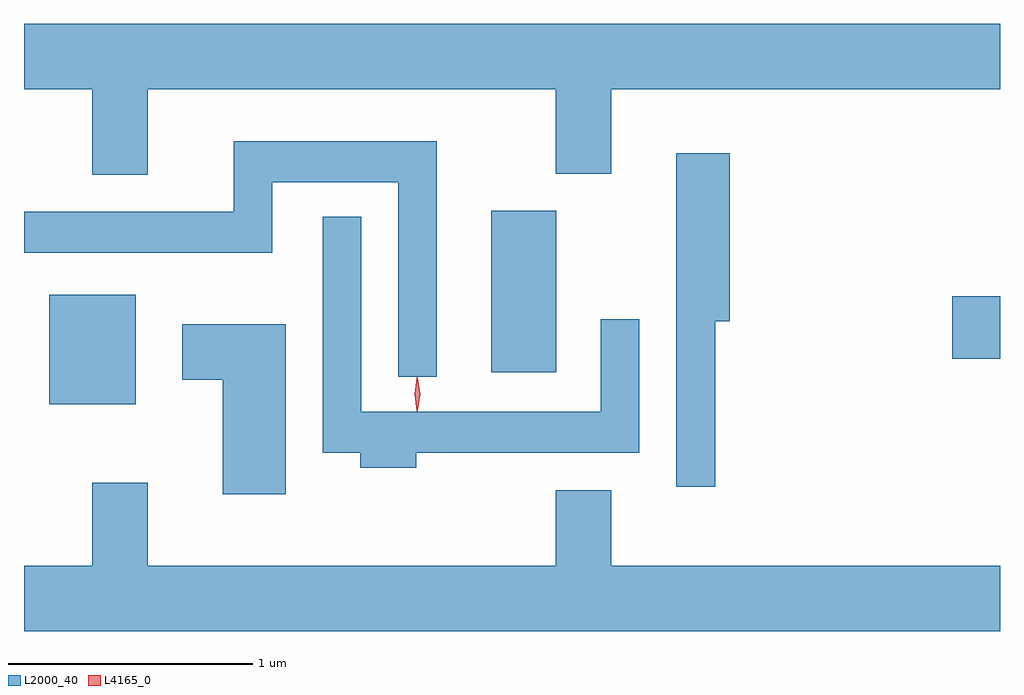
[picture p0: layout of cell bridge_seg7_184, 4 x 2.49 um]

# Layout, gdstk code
import gdstk
lib = gdstk.Library(unit=1e-6, precision=1e-09)
def R(c, l, rs):  # rectangles x0, y0, x1, y1
    for r in rs: c.add(gdstk.rectangle(r[:2], r[2:], *l))
def P(c, l, *ps):  # polygons
    for p in ps: c.add(gdstk.Polygon(p, *l))
L2000_40 = (2000, 40)
L4165_0 = (4165, 0)

bridge_seg7_184 = lib.new_cell('bridge_seg7_184')
R(bridge_seg7_184, L2000_40, [(1504.006,1704.146,1504.359,1704.594), (1505.816,1704.276,1506.084,1704.939), (1507.706,1704.331,1507.902,1704.589)])
P(bridge_seg7_184, L2000_40, [(1504.409,1705.436),(1506.081,1705.436),(1506.081,1705.091),(1506.309,1705.091),(1506.309,1705.436),(1507.902,1705.436),(1507.902,1705.704),(1503.902,1705.704),(1503.902,1705.436),(1504.181,1705.436),(1504.181,1705.086),(1504.409,1705.086)],
  [(1505.594,1705.224),(1504.761,1705.224),(1504.761,1704.934),(1503.902,1704.934),(1503.902,1704.766),(1504.919,1704.766),(1504.919,1705.056),(1505.436,1705.056),(1505.436,1704.258),(1505.594,1704.258)],
  [(1506.734,1704.486),(1506.794,1704.486),(1506.794,1705.174),(1506.576,1705.174),(1506.576,1703.808),(1506.734,1703.808)],
  [(1505.509,1703.946),(1506.424,1703.946),(1506.424,1704.493),(1506.266,1704.493),(1506.266,1704.114),(1505.284,1704.114),(1505.284,1704.913),(1505.126,1704.913),(1505.126,1703.946),(1505.281,1703.946),(1505.281,1703.886),(1505.509,1703.886)],
  [(1504.974,1704.474),(1504.551,1704.474),(1504.551,1704.246),(1504.716,1704.246),(1504.716,1703.776),(1504.974,1703.776)],
  [(1507.902,1703.484),(1506.309,1703.484),(1506.309,1703.794),(1506.081,1703.794),(1506.081,1703.484),(1504.409,1703.484),(1504.409,1703.824),(1504.181,1703.824),(1504.181,1703.484),(1503.902,1703.484),(1503.902,1703.216),(1507.902,1703.216)])
P(bridge_seg7_184, L4165_0, [(1505.515,1704.119),(1505.515,1704.12),(1505.505,1704.186),(1505.515,1704.252),(1505.515,1704.253),(1505.516,1704.252),(1505.525,1704.186),(1505.516,1704.12)],
  [(1505.512,1704.117),(1505.503,1704.187),(1505.512,1704.256),(1505.513,1704.256),(1505.513,1704.256),(1505.523,1704.187),(1505.513,1704.117),(1505.513,1704.117)])

lib.write_gds('bridge_seg7_184.gds')
